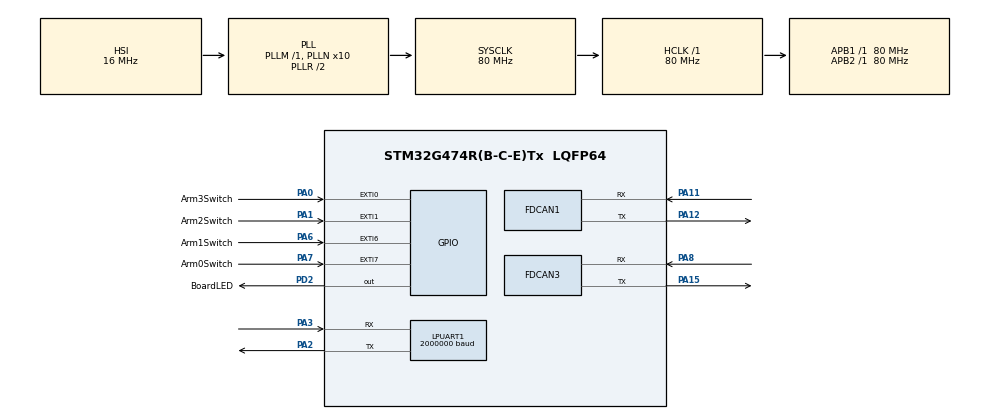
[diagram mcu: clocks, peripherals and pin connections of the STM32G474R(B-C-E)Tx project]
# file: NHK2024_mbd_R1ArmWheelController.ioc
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FDCAN1.CalculateBaudRateNominal=1000000
FDCAN1.CalculateTimeBitNominal=1000
FDCAN1.CalculateTimeQuantumNominal=50.0
FDCAN1.DataPrescaler=2
FDCAN1.DataTimeSeg1=15
FDCAN1.DataTimeSeg2=4
FDCAN1.FrameFormat=FDCAN_FRAME_FD_BRS
FDCAN1.NominalPrescaler=4
FDCAN1.NominalTimeSeg1=15
FDCAN1.NominalTimeSeg2=4
FDCAN1.StdFiltersNbr=1
FDCAN3.CalculateBaudRateNominal=1000000
FDCAN3.CalculateTimeBitNominal=1000
FDCAN3.CalculateTimeQuantumNominal=50.0
FDCAN3.NominalPrescaler=4
FDCAN3.NominalTimeSeg1=15
FDCAN3.NominalTimeSeg2=4
FDCAN3.StdFiltersNbr=1
IWDG.Prescaler=IWDG_PRESCALER_32
IWDG.Reload=99
IWDG.Window=99
LPUART1.BaudRate=2000000
Mcu.Family=STM32G4
Mcu.Name=STM32G474R(B-C-E)Tx
Mcu.Package=LQFP64
NVIC.EXTI0_IRQn=true\:1\:0\:true\:false\:true\:true\:true\:true
NVIC.EXTI1_IRQn=true\:1\:0\:true\:false\:true\:true\:true\:true
NVIC.EXTI9_5_IRQn=true\:1\:0\:true\:false\:true\:true\:true\:true
NVIC.FDCAN1_IT0_IRQn=true\:0\:0\:false\:false\:true\:true\:true\:true
NVIC.FDCAN3_IT0_IRQn=true\:2\:0\:true\:false\:true\:true\:true\:true
NVIC.FDCAN3_IT1_IRQn=true\:2\:0\:true\:false\:true\:true\:true\:true
NVIC.PriorityGroup=NVIC_PRIORITYGROUP_4
NVIC.TIM1_UP_TIM16_IRQn=true\:4\:0\:true\:false\:true\:true\:true\:true
NVIC.TIM6_DAC_IRQn=true\:3\:0\:true\:false\:true\:true\:true\:true
NVIC.TIM7_DAC_IRQn=true\:3\:0\:true\:false\:true\:true\:true\:true
PA0.GPIO_Label=Arm3Switch
PA0.GPIO_ModeDefaultEXTI=GPIO_MODE_IT_FALLING
PA0.Signal=GPXTI0
PA1.GPIO_Label=Arm2Switch
PA1.GPIO_ModeDefaultEXTI=GPIO_MODE_IT_FALLING
PA1.Signal=GPXTI1
PA11.Mode=FDCAN_Activate
PA11.Signal=FDCAN1_RX
PA12.Mode=FDCAN_Activate
PA12.Signal=FDCAN1_TX
PA15.Mode=FDCAN_Activate
PA15.Signal=FDCAN3_TX
PA2.Mode=Asynchronous
PA2.Signal=LPUART1_TX
PA3.Mode=Asynchronous
PA3.Signal=LPUART1_RX
PA6.GPIO_Label=Arm1Switch
PA6.GPIO_ModeDefaultEXTI=GPIO_MODE_IT_FALLING
PA6.Signal=GPXTI6
PA7.GPIO_Label=Arm0Switch
PA7.GPIO_ModeDefaultEXTI=GPIO_MODE_IT_FALLING
PA7.Signal=GPXTI7
PA8.Mode=FDCAN_Activate
PA8.Signal=FDCAN3_RX
PC0.Signal=ADC1_IN6
PC1.Signal=ADC1_IN7
PD2.GPIO_Label=BoardLED
PD2.PinState=GPIO_PIN_RESET
PD2.Signal=GPIO_Output
ProjectManager.HeapSize=0x200
ProjectManager.StackSize=0x400
ProjectManager.TargetToolchain=STM32CubeIDE
RCC.ADC12Freq_Value=80000000
RCC.ADC345Freq_Value=80000000
RCC.AHBFreq_Value=80000000
RCC.APB1Freq_Value=80000000
RCC.APB1TimFreq_Value=80000000
RCC.APB2Freq_Value=80000000
RCC.APB2TimFreq_Value=80000000
RCC.CortexFreq_Value=80000000
RCC.EXTERNAL_CLOCK_VALUE=12288000
RCC.HCLKFreq_Value=80000000
RCC.HSE_VALUE=8000000
RCC.HSI48_VALUE=48000000
RCC.HSI_VALUE=16000000
RCC.LSE_VALUE=32768
RCC.PLLN=10
RCC.SYSCLKFreq_VALUE=80000000
RCC.SYSCLKSource=RCC_SYSCLKSOURCE_PLLCLK
RCC.USBFreq_Value=80000000
RCC.VCOOutputFreq_Value=160000000
TIM16.PeriodNoDither=9
TIM16.Prescaler=80
TIM6.PeriodNoDither=999
TIM6.Prescaler=80
TIM7.PeriodNoDither=9999
TIM7.Prescaler=80
VP_IWDG_VS_IWDG.Mode=IWDG_Activate
VP_TIM16_VS_ClockSourceINT.Mode=Enable_Timer
VP_TIM6_VS_ClockSourceINT.Mode=Enable_Timer
VP_TIM7_VS_ClockSourceINT.Mode=Enable_Timer
board=custom

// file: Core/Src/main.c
/* USER CODE BEGIN Header */
/**
  ******************************************************************************
  * @file           : main.c
  * @brief          : Main program body
  ******************************************************************************
  * @attention
  *
  * Copyright (c) 2024 STMicroelectronics.
  * All rights reserved.
  *
  * This software is licensed under terms that can be found in the LICENSE file
  * in the root directory of this software component.
  * If no LICENSE file comes with this software, it is provided AS-IS.
  *
  ******************************************************************************
  */
/* USER CODE END Header */
#include "main.h"

/* USER CODE BEGIN Includes */
#include <stdio.h>
#include <inttypes.h>
#include <stdlib.h>
#include <stdbool.h>
#include "pid.h"
#include "R1CANIDList.h"
#include "DJI_CANIDList.h"
#include "ErrorCode.h"
/* USER CODE END Includes */

/* USER CODE BEGIN PTD */
typedef struct MotorState {
  int16_t vel;
  double pos;
} MotorState;
/* USER CODE END PTD */

/* USER CODE BEGIN PD */
#define REDUCTIONRATIO 36
#define GEARNUM 32
#define RACKPITCH 3.14159265
#define MOTOR_TO_EDGE_DISTANCE 21
/* USER CODE END PD */

FDCAN_HandleTypeDef hfdcan1;
FDCAN_HandleTypeDef hfdcan3;

IWDG_HandleTypeDef hiwdg;

UART_HandleTypeDef hlpuart1;

TIM_HandleTypeDef htim6;
TIM_HandleTypeDef htim7;
TIM_HandleTypeDef htim16;

/* USER CODE BEGIN PV */

// CAN settings
FDCAN_TxHeaderTypeDef FDCAN1_TxHeader;
FDCAN_RxHeaderTypeDef FDCAN1_RxHeader;

FDCAN_TxHeaderTypeDef FDCAN3_TxHeader;
FDCAN_RxHeaderTypeDef FDCAN3_RxHeader;

// For ADC continuous read
double arm_positions[4] = {0};
MotorState arm_motor[4];

// スイッチのチャタリング防止用変数
bool isHolPushedFlagForPreventChattering[4] = {
    false,
    false,
    false,
    false
};

// チャタリング防止用のタイマー
// 1MHzでタイマー回して1000になったらリセットする
unsigned int holdTimer[4] = {
    0,
    0,
    0,
    0
};

// それぞれのスイッチのロボットからみた位置
double ArmInitializeSwitchPosition[4] = {
    -(310 - MOTOR_TO_EDGE_DISTANCE),
    -(12.5 + MOTOR_TO_EDGE_DISTANCE),
    12.5 + MOTOR_TO_EDGE_DISTANCE,
    310 - MOTOR_TO_EDGE_DISTANCE,
};
// 全てのアーム位置を再初期化する際に使う変数たち
bool isPushedRestHomePositionButton[4] = {
    false,
    false,
    false,
    false
};

// アーム位置を初期化する際に使用する関数. 3秒経ってもスイッチが押されないならリセットされたと判定する
long long homePositionResetTimer = 0;

// For ARM position PID
// Reset以下のプログラムを有効化にするかどうか. デフォルトはfalse, アームの制御を入れる時にtrueにする
bool isProgramRun = false;

struct PID *PID_For_ARM_POS = NULL;

/*
 * PID Parameters
 * 限界感度法で調節
 * kpc = 62 (持続振動をするときのPゲインの大きさ)
 * T_c = 0.33 (持続振動の周波数が3Hzだった)
 *
 * -> 限界感度法がクソなのでいい感じにした
 */
double P_GAIN_FOR_ARM_POS = 5;
double P_GAIN_FOR_ARM_POS_SEQ[4] = {12.0, 12.0, 12.0, 12.0};
double I_GAIN_FOR_ARM_POS = 0;
double D_GAIN_FOR_ARM_POS = 1;

// setpoint for arm
// TODO
//int setpoint[4] = {
//		2640,
//		1550,
//		2480,
//		1387,
//};
int setpoint[3][4] = {
    // 苗の回収位置
    {
        -285,
        -69.5,
        69.5,
        285,
    },
    // 外側をおく
    {
        -160,
        -50,
        50,
        160,
    },
    // 内側をおく
    {
        -285,
        -194.5,
        194.5,
        285
    }
};

/* USER CODE END PV */

void SystemClock_Config(void);
static void MX_GPIO_Init(void);
static void MX_LPUART1_UART_Init(void);
static void MX_FDCAN3_Init(void);
static void MX_TIM6_Init(void);
static void MX_FDCAN1_Init(void);
static void MX_TIM7_Init(void);
static void MX_TIM16_Init(void);
static void MX_IWDG_Init(void);
/* USER CODE BEGIN PFP */
static void ARM_Position_PID_Init(void);
static void ARM_Position_PID_Cycle(void);

// 原点調節用の関数
static void InitMotorState(uint8_t motorID);
static void setMotorVel();

/* USER CODE END PFP */

/* USER CODE BEGIN 0 */

/* --- アームの原点を取るための関数たち --- */
void ResetToHomePosition() {
  // 実行前の初期化
  // PIDの制御を一旦止める
  HAL_TIM_Base_Stop_IT(&htim6);
  // MotorStateの初期化
  for (int arm_index = 0; arm_index < 4; arm_index++ ) {
      arm_motor[arm_index].pos = 0;
      arm_motor[arm_index].vel = 0;
  }
  // それぞれのスイッチの変数を全てfalseにする
  for (int arm_index = 0; arm_index < 4; arm_index++ ) {
      isPushedRestHomePositionButton[arm_index] = false;
  }

  if (!HAL_GPIO_ReadPin(Arm0Switch_GPIO_Port, Arm0Switch_Pin)) {
      InitMotorState(0);
      setMotorVel();
      isPushedRestHomePositionButton[0] = true;
  }
  if (!HAL_GPIO_ReadPin(Arm1Switch_GPIO_Port, Arm1Switch_Pin)) {
      InitMotorState(1);
      setMotorVel();
      isPushedRestHomePositionButton[1] = true;
  }
  if (!HAL_GPIO_ReadPin(Arm2Switch_GPIO_Port, Arm2Switch_Pin)) {
      InitMotorState(2);
      setMotorVel();
      isPushedRestHomePositionButton[2] = true;
  }
  if (!HAL_GPIO_ReadPin(Arm3Switch_GPIO_Port, Arm3Switch_Pin)) {
      InitMotorState(3);
      setMotorVel();
      isPushedRestHomePositionButton[3] = true;
  }

  /*
     * CANID 0, 3はプラス方向
     * CANID 1, 2はマイナス方向へ
  */
//  int16_t val_settings[4] = {
//      0,
//      0,
//      0,
//      -1000,
//  };
//  uint8_t motor_vel_value[8];
//
//  // update controller output
//  for (int arm_index = 0; arm_index < 4; arm_index++ ) {
//      motor_vel_value[arm_index*2] = val_settings[arm_index] >> 8;
//      motor_vel_value[arm_index*2+1] = val_settings[arm_index] & 0xFF;
//  }

  /*
   * アームをリミットスイッチまで動かす
   * スイッチが押されたら停止する
   * タイマーの切り忘れがないように注意
   */
  HAL_TIM_Base_Start_IT(&htim7);

  // 全部がスイッチにタッチするまで待つ
  printf("while\r\n");
  while (
      !isPushedRestHomePositionButton[0] ||
      !isPushedRestHomePositionButton[1] ||
      !isPushedRestHomePositionButton[2] ||
      !isPushedRestHomePositionButton[3]
  ) {
  }

  printf("Complete\r\n");

  // PIDの制御を再開
  // 原点初期化用のタイマーを停止して、PIDを再開する
  HAL_TIM_Base_Stop_IT(&htim7);
  HAL_TIM_Base_Start_IT(&htim6);
}

/*
 * 原点調節用のスイッチの割り込み関数
 */
void HAL_GPIO_EXTI_Callback(uint16_t GPIO_Pin)
{
  if (GPIO_Pin == Arm0Switch_Pin && !isHolPushedFlagForPreventChattering[0])
  {
      printf("Arm 0 initialized\r\n");
      InitMotorState(0); // motorStateを再初期化する
      setMotorVel(); // 再初期化したモーターの速度を0にする（InitMotorStateで変更したvelがCANに流されて反映される）
      isPushedRestHomePositionButton[0] = true;
      isHolPushedFlagForPreventChattering[0] = true; // チャタリング防止用
  }

  if (GPIO_Pin == Arm1Switch_Pin && !isHolPushedFlagForPreventChattering[1])
  {
//      printf("[Initialize Position]: ARM 1\r\n");
      printf("Arm 1 initialized\r\n");
      InitMotorState(1); // motorStateを再初期化する
      setMotorVel(); // 再初期化したモーターの速度を0にする（InitMotorStateで変更したvelがCANに流されて反映される）
      isPushedRestHomePositionButton[1] = true;
      isHolPushedFlagForPreventChattering[1] = true; // チャタリング防止用
  }

  if (GPIO_Pin == Arm2Switch_Pin && !isHolPushedFlagForPreventChattering[2])
  {
//      printf("[Initialize Position]: ARM 4\r\n");
      printf("Arm 2 initialized\r\n");
      InitMotorState(2); // motorStateを再初期化する
      setMotorVel(); // 再初期化したモーターの速度を0にする（InitMotorStateで変更したvelがCANに流されて反映される）
      isPushedRestHomePositionButton[2] = true;
      isHolPushedFlagForPreventChattering[2] = true; // チャタリング防止用
  }

  if (GPIO_Pin == Arm3Switch_Pin && !isHolPushedFlagForPreventChattering[3])
  {
//      printf("[Initialize Position]: ARM 4\r\n");
      printf("Arm 3 initialized\r\n");
      InitMotorState(3); // motorStateを再初期化する
      setMotorVel(); // 再初期化したモーターの速度を0にする（InitMotorStateで変更したvelがCANに流されて反映される）
      isPushedRestHomePositionButton[3] = true;
      isHolPushedFlagForPreventChattering[3] = true; // チャタリング防止用
  }
}

/*
 * CANIDがmotorIDのモータのarm_positions(アームの位置)情報を初期化する
 */
void InitMotorState(uint8_t motorID) {
  arm_motor[motorID].vel = 0;
  arm_motor[motorID].pos = ArmInitializeSwitchPosition[motorID];
}

/*
 * 原点が押されるまでモーターを原点方向に回し続ける関数.
 * 原点到着後はタイマーが止まるまでその場に居続ける
 */
void MoveToOriginAndHold(void) {
//  int16_t vel_settings[4] = {0, 0, 0, 0};
//
  if (!isPushedRestHomePositionButton[0]) {
        arm_motor[0].vel = -500;
  }
  if (!isPushedRestHomePositionButton[1]) {
      arm_motor[1].vel =  500;
  }
  if (!isPushedRestHomePositionButton[2]) {
      arm_motor[2].vel = -500;
  }
  if (!isPushedRestHomePositionButton[3]) {
      arm_motor[3].vel = 500;
  }

  setMotorVel();
}

void setMotorVel() {
    uint8_t motor_vel_value[8];

    // update controller output
    for (int arm_index = 0; arm_index < 4; arm_index++ ) {
        motor_vel_value[arm_index*2] = arm_motor[arm_index].vel >> 8;
        motor_vel_value[arm_index*2+1] = arm_motor[arm_index].vel & 0xFF;
    }

    FDCAN3_TxHeader.Identifier = DJI_CANID_TX0;
    if (HAL_FDCAN_AddMessageToTxFifoQ(&hfdcan3, &FDCAN3_TxHeader, motor_vel_value) != HAL_OK) {
        Error_Handler();
    }
}

// Set timer interrupt
void HAL_TIM_PeriodElapsedCallback(TIM_HandleTypeDef *htim){

	// For arm position adc
	if (htim == &htim6) {
	    // TODO: enable this func to enable PID
			ARM_Position_PID_Cycle();
	}
	// アームの原点調節をするときに使用する. それ以外はdisable
	if (htim == &htim7) {
	    homePositionResetTimer += 1;
	    printf("%d\r\n", homePositionResetTimer);
	    MoveToOriginAndHold();
	}

	// チャタリング防止用. 100KHzで回している。10msなったら解除
	if (htim == &htim16) {
	    for (int arm_index = 0; arm_index < 4; arm_index++ ) {
	        if (!isHolPushedFlagForPreventChattering[arm_index]) continue;
	        holdTimer[arm_index]++;
	        // 10ms立ったら再度初期化
	        if (holdTimer[arm_index] == 1000) {
	            holdTimer[arm_index] = 0;
	            isHolPushedFlagForPreventChattering[arm_index] = false;
	        }
//	        printf("%d\r\n", isHolPushedFlagForPreventChattering[arm_index]);
	    }
	}
}

// Set Interrupt Handler for FDCAN1 (raspberrypi, other stm ..)
void HAL_FDCAN_RxFifo0Callback(FDCAN_HandleTypeDef *hfdcan, uint32_t RxFifo0ITs) {
  uint8_t FDCAN1_RxData[2] = {0};

  // Error Handling
  if ((RxFifo0ITs & FDCAN_IT_RX_FIFO0_NEW_MESSAGE) == RESET) return;
  if (hfdcan != &hfdcan1) return;

  if (HAL_FDCAN_GetRxMessage(hfdcan, FDCAN_RX_FIFO0, &FDCAN1_RxHeader, FDCAN1_RxData) != HAL_OK) {
      printf("FDCAN3 error %" PRIu32 "\r\n", hfdcan->ErrorCode); // TODO : send this error to raspberrypi ON FDCAN1
      Error_Handler();
  }

  if (FDCAN1_RxHeader.Identifier == CANID_SEEDLING_SET_ARM_POSITION) {
      // プログラムを有効化する
      isProgramRun = true;
      switch(FDCAN1_RxData[0]) {
        case 0:
          printf("PICKUP\r\n");
          for(int arm_index=0; arm_index < 4; arm_index++ ) {
              pid_reset_setpoint(&PID_For_ARM_POS[arm_index], setpoint[0][arm_index]);
          }
          break;
        case 1:
          printf("PUT OUTSIDE\r\n");
          for(int arm_index=0; arm_index < 4; arm_index++ ) {
              pid_reset_setpoint(&PID_For_ARM_POS[arm_index], setpoint[1][arm_index]);
          }
          break;
        case 2:
          printf("PUT INSIDE\r\n");
          for(int arm_index=0; arm_index < 4; arm_index++ ) {
              pid_reset_setpoint(&PID_For_ARM_POS[arm_index], setpoint[2][arm_index]);
          }
          break;
        case 3:
          // TODO: disable FDCAN3 and reset program
          __disable_irq();
          break;
        default:
          break; // TODO : send RuntimeError to raspbeerypi
      }
  }
}

float rpm_to_signed(uint16_t angular_velocity) {
  if (angular_velocity <= UINT16_MAX/2) {
      return (float)(angular_velocity);
  } else {
      return (float)(angular_velocity - UINT16_MAX);
  }
}

int to_mechanical_angle(uint16_t angle) {
  return (int)((angle / 8191.0) * 360);
}

// Set Interrupt Handler For FDCAN3 (motor at wheel and arm)
void HAL_FDCAN_RxFifo1Callback(FDCAN_HandleTypeDef *hfdcan, uint32_t RxFifo1ITs) {
	uint8_t FDCAN3_RxData[8];
	float rpm;
	uint8_t motorID;

	// Error Handling
	if ((RxFifo1ITs & FDCAN_IT_RX_FIFO1_NEW_MESSAGE) == RESET) return;
	if (hfdcan != &hfdcan3) return;

	if (HAL_FDCAN_GetRxMessage(hfdcan, FDCAN_RX_FIFO1, &FDCAN3_RxHeader, FDCAN3_RxData) != HAL_OK) {
		printf("FDCAN3 error %" PRIu32 "\r\n", hfdcan->ErrorCode); // TODO : send this error to raspberrypi ON FDCAN1
		Error_Handler();
	}

	// Reload IWDG
	if (HAL_IWDG_Refresh(&hiwdg) != HAL_OK)
  {
    Error_Handler();
  }

//	printf("%d\r\n", motorID);
	motorID = FDCAN3_RxHeader.Identifier - DJI_CANID_TX0 - 1;
	// uint16_t 0 ~ 65535
	rpm = rpm_to_signed(FDCAN3_RxData[2] << 8 | FDCAN3_RxData[3]);
	double motor_vel = (double)(rpm / 60 / REDUCTIONRATIO * GEARNUM * RACKPITCH);
	arm_motor[motorID].vel = motor_vel;
	arm_motor[motorID].pos += (motor_vel * 0.001);
//	arm_positions[motorID] = arm_positions[motorID] + motor_vel * 0.001;

//	printf("%f, %f, %f, %f\r\n", 0.0, arm_motor[1].pos, 12.5 , 2000.0);
	// TODO : Add wheel controller
//	switch(FDCAN3_RxHeader.Identifier) {
//		default:
//			printf("CAN ID %" PRIu32 "is not cached from FIFO1 callback\r\n", FDCAN3_RxHeader.Identifier);
//	}
}

/* For ARM PID */
static void ARM_Position_PID_Init(void) {

	PID_For_ARM_POS = (struct PID *)malloc(4 * sizeof(struct PID));
	if (PID_For_ARM_POS == NULL) {
			Error_Handler();
	}

	// initialize element
	for (int arm_index = 0; arm_index < 4; arm_index++ ) {
			/*
			 * 制御周期 : 1000Hz
			 * kp : 1
			 * kd : 0
			 * ki : 0
			 * setpoint : 1500
			 * -500 : integral_min
			 * 500: integral_max
			 */
			pid_init(&PID_For_ARM_POS[arm_index], 1e-3, P_GAIN_FOR_ARM_POS_SEQ[arm_index], D_GAIN_FOR_ARM_POS, I_GAIN_FOR_ARM_POS, setpoint[0][arm_index], -500, 500);
	}
}

static void ARM_Position_PID_Cycle(void) {
	// Automatically set adc value to DMA, so don't need to read ADC
	if (PID_For_ARM_POS == NULL) {
			Error_Handler();
	}

//	uint8_t pid_controller_value[8];

//	printf("0, %d, 3000\r\n", arm_positions[1]);
//	printf("0, %d, 3000\r\n", arm_positions[2]);
//	printf("0, %d, %d, %d, %d, 3000\r\n", arm_positions[0], arm_positions[1], arm_positions[2], arm_positions[3]);
//	printf("0, %d, 3000\r\n", arm_positions[2]);

//	uint16_t arm[4] = {
//	    arm_positions[3],
//	    arm_positions[0],
//	    arm_positions[1],
//	    arm_positions[2]
//	};

	// update controller output
	for (int arm_index = 0; arm_index < 4; arm_index++ ) {
	    int32_t pid_val = int32_t_pid_compute(&PID_For_ARM_POS[arm_index], arm_motor[arm_index].pos);
			arm_motor[arm_index].vel = pid_val;
//			pid_controller_value[arm_index*2] = pid_for_arm_output >> 8;
//			pid_controller_value[arm_index*2+1] = pid_for_arm_output & 0xFF;
	}
	setMotorVel();
////	 write new controller value with can
//	FDCAN3_TxHeader.Identifier = DJI_CANID_TX0;
//	if (HAL_FDCAN_AddMessageToTxFifoQ(&hfdcan3, &FDCAN3_TxHeader, pid_controller_value) != HAL_OK) {
//	    Error_Handler();
//	}
}

int _write(int file, char *ptr, int len)
{
    HAL_UART_Transmit(&hlpuart1,(uint8_t *)ptr,len,8);
    return len;
}

/* USER CODE END 0 */

int main(void)
{

  /* MCU Configuration--------------------------------------------------------*/

  /* Reset of all peripherals, Initializes the Flash interface and the Systick. */
  HAL_Init();

  /* Configure the system clock */
  SystemClock_Config();

  /* Initialize all configured peripherals */
  MX_GPIO_Init();
  MX_LPUART1_UART_Init();
  MX_FDCAN3_Init();
  MX_TIM6_Init();
  MX_FDCAN1_Init();
  MX_TIM7_Init();
  MX_TIM16_Init();
  MX_IWDG_Init();
  /* USER CODE BEGIN 2 */
//  printf("arm position pid init\r\n");

  // Initialize PID library
  HAL_TIM_Base_Start_IT(&htim16);
  ARM_Position_PID_Init();

  printf("iwdg restart\r\n");
  while(!isProgramRun) {
      // アームの制御が入るまではこれ以降の処理をブロックする
      // 初めにリミットスイッチで原点を取るが開始時に色々面倒だから
  }

  // Start ADC and save at DMA
//	HAL_ADCEx_Calibration_Start(&hadc1, ADC_SINGLE_ENDED);
//	HAL_ADC_Start_DMA(&hadc1, (uint32_t *)&arm_positions, 4);
  printf("start rest to home position\r\n");
  ResetToHomePosition();
	printf("Complete Initialize\r\n");

	// TODO: enable this func
	// Start timer interrupt (1kHz)
  // TODO delete
//	HAL_TIM_Base_Start_IT(&htim6);

  /* USER CODE END 2 */

  /* Infinite loop */
  while (1)
  {

  }
}

void SystemClock_Config(void)
{
  RCC_OscInitTypeDef RCC_OscInitStruct = {0};
  RCC_ClkInitTypeDef RCC_ClkInitStruct = {0};

  /** Configure the main internal regulator output voltage
  */
  HAL_PWREx_ControlVoltageScaling(PWR_REGULATOR_VOLTAGE_SCALE1);

  /** Initializes the RCC Oscillators according to the specified parameters
  * in the RCC_OscInitTypeDef structure.
  */
  RCC_OscInitStruct.OscillatorType = RCC_OSCILLATORTYPE_HSI|RCC_OSCILLATORTYPE_LSI;
  RCC_OscInitStruct.HSIState = RCC_HSI_ON;
  RCC_OscInitStruct.HSICalibrationValue = RCC_HSICALIBRATION_DEFAULT;
  RCC_OscInitStruct.LSIState = RCC_LSI_ON;
  RCC_OscInitStruct.PLL.PLLState = RCC_PLL_ON;
  RCC_OscInitStruct.PLL.PLLSource = RCC_PLLSOURCE_HSI;
  RCC_OscInitStruct.PLL.PLLM = RCC_PLLM_DIV1;
  RCC_OscInitStruct.PLL.PLLN = 10;
  RCC_OscInitStruct.PLL.PLLP = RCC_PLLP_DIV2;
  RCC_OscInitStruct.PLL.PLLQ = RCC_PLLQ_DIV2;
  RCC_OscInitStruct.PLL.PLLR = RCC_PLLR_DIV2;
  if (HAL_RCC_OscConfig(&RCC_OscInitStruct) != HAL_OK)
  {
    Error_Handler();
  }

  /** Initializes the CPU, AHB and APB buses clocks
  */
  RCC_ClkInitStruct.ClockType = RCC_CLOCKTYPE_HCLK|RCC_CLOCKTYPE_SYSCLK
                              |RCC_CLOCKTYPE_PCLK1|RCC_CLOCKTYPE_PCLK2;
  RCC_ClkInitStruct.SYSCLKSource = RCC_SYSCLKSOURCE_PLLCLK;
  RCC_ClkInitStruct.AHBCLKDivider = RCC_SYSCLK_DIV1;
  RCC_ClkInitStruct.APB1CLKDivider = RCC_HCLK_DIV1;
  RCC_ClkInitStruct.APB2CLKDivider = RCC_HCLK_DIV1;

  if (HAL_RCC_ClockConfig(&RCC_ClkInitStruct, FLASH_LATENCY_2) != HAL_OK)
  {
    Error_Handler();
  }
}

static void MX_FDCAN1_Init(void)
{

  hfdcan1.Instance = FDCAN1;
  hfdcan1.Init.ClockDivider = FDCAN_CLOCK_DIV1;
  hfdcan1.Init.FrameFormat = FDCAN_FRAME_FD_BRS;
  hfdcan1.Init.Mode = FDCAN_MODE_NORMAL;
  hfdcan1.Init.AutoRetransmission = DISABLE;
  hfdcan1.Init.TransmitPause = DISABLE;
  hfdcan1.Init.ProtocolException = DISABLE;
  hfdcan1.Init.NominalPrescaler = 4;
  hfdcan1.Init.NominalSyncJumpWidth = 1;
  hfdcan1.Init.NominalTimeSeg1 = 15;
  hfdcan1.Init.NominalTimeSeg2 = 4;
  hfdcan1.Init.DataPrescaler = 2;
  hfdcan1.Init.DataSyncJumpWidth = 1;
  hfdcan1.Init.DataTimeSeg1 = 15;
  hfdcan1.Init.DataTimeSeg2 = 4;
  hfdcan1.Init.StdFiltersNbr = 1;
  hfdcan1.Init.ExtFiltersNbr = 0;
  hfdcan1.Init.TxFifoQueueMode = FDCAN_TX_FIFO_OPERATION;
  if (HAL_FDCAN_Init(&hfdcan1) != HAL_OK)
  {
    Error_Handler();
  }
  /* USER CODE BEGIN FDCAN1_Init 2 */
  FDCAN1_TxHeader.Identifier = 0x000;
  FDCAN1_TxHeader.IdType = FDCAN_STANDARD_ID;
  FDCAN1_TxHeader.TxFrameType = FDCAN_DATA_FRAME;
  FDCAN1_TxHeader.DataLength = FDCAN_DLC_BYTES_1;
  FDCAN1_TxHeader.ErrorStateIndicator = FDCAN_ESI_ACTIVE;
  FDCAN1_TxHeader.BitRateSwitch = FDCAN_BRS_ON;
  FDCAN1_TxHeader.FDFormat = FDCAN_FD_CAN;
  FDCAN1_TxHeader.TxEventFifoControl = FDCAN_NO_TX_EVENTS;
  FDCAN1_TxHeader.MessageMarker = 0;

  FDCAN_FilterTypeDef FDCAN1_sFilterConfig;
  FDCAN1_sFilterConfig.IdType = FDCAN_STANDARD_ID;
  FDCAN1_sFilterConfig.FilterIndex = 0;
  FDCAN1_sFilterConfig.FilterType = FDCAN_FILTER_RANGE;
  FDCAN1_sFilterConfig.FilterConfig = FDCAN_FILTER_TO_RXFIFO0;
  FDCAN1_sFilterConfig.FilterID1 = 0x00;
  FDCAN1_sFilterConfig.FilterID2 = 0x7ff;

  if (HAL_FDCAN_ConfigFilter(&hfdcan1, &FDCAN1_sFilterConfig) != HAL_OK) {
      Error_Handler();
  }
  if (HAL_FDCAN_ConfigGlobalFilter(&hfdcan1, FDCAN_REJECT, FDCAN_REJECT, FDCAN_FILTER_REMOTE, FDCAN_FILTER_REMOTE) !=
      HAL_OK) {
      Error_Handler();
  }
  if (HAL_FDCAN_Start(&hfdcan1) != HAL_OK) {
      Error_Handler();
  }
  if (HAL_FDCAN_ActivateNotification(&hfdcan1, FDCAN_IT_RX_FIFO0_NEW_MESSAGE, 0) != HAL_OK){
      Error_Handler();
  }

  /* USER CODE END FDCAN1_Init 2 */

}

static void MX_FDCAN3_Init(void)
{

  hfdcan3.Instance = FDCAN3;
  hfdcan3.Init.ClockDivider = FDCAN_CLOCK_DIV1;
  hfdcan3.Init.FrameFormat = FDCAN_FRAME_CLASSIC;
  hfdcan3.Init.Mode = FDCAN_MODE_NORMAL;
  hfdcan3.Init.AutoRetransmission = DISABLE;
  hfdcan3.Init.TransmitPause = DISABLE;
  hfdcan3.Init.ProtocolException = DISABLE;
  hfdcan3.Init.NominalPrescaler = 4;
  hfdcan3.Init.NominalSyncJumpWidth = 1;
  hfdcan3.Init.NominalTimeSeg1 = 15;
  hfdcan3.Init.NominalTimeSeg2 = 4;
  hfdcan3.Init.DataPrescaler = 1;
  hfdcan3.Init.DataSyncJumpWidth = 1;
  hfdcan3.Init.DataTimeSeg1 = 1;
  hfdcan3.Init.DataTimeSeg2 = 1;
  hfdcan3.Init.StdFiltersNbr = 1;
  hfdcan3.Init.ExtFiltersNbr = 0;
  hfdcan3.Init.TxFifoQueueMode = FDCAN_TX_FIFO_OPERATION;
  if (HAL_FDCAN_Init(&hfdcan3) != HAL_OK)
  {
    Error_Handler();
  }
  /* USER CODE BEGIN FDCAN3_Init 2 */
  // Set TXHeader
	FDCAN3_TxHeader.IdType = FDCAN_STANDARD_ID;
	FDCAN3_TxHeader.TxFrameType = FDCAN_DATA_FRAME;
	FDCAN3_TxHeader.DataLength = FDCAN_DLC_BYTES_8;
	FDCAN3_TxHeader.ErrorStateIndicator = FDCAN_ESI_ACTIVE;
	FDCAN3_TxHeader.BitRateSwitch = FDCAN_BRS_OFF;
	FDCAN3_TxHeader.FDFormat = FDCAN_CLASSIC_CAN;
	FDCAN3_TxHeader.TxEventFifoControl = FDCAN_NO_TX_EVENTS;
	FDCAN3_TxHeader.MessageMarker = 0;

	// Set FDCAN3 filter config
	FDCAN_FilterTypeDef FDCAN3_sFilterConfig;
	FDCAN3_sFilterConfig.IdType = FDCAN_STANDARD_ID;
	FDCAN3_sFilterConfig.FilterIndex = 0;
	FDCAN3_sFilterConfig.FilterType = FDCAN_FILTER_RANGE;
	FDCAN3_sFilterConfig.FilterConfig = FDCAN_FILTER_TO_RXFIFO1;
	FDCAN3_sFilterConfig.FilterID1 = 0x000;
	FDCAN3_sFilterConfig.FilterID2 = 0x7ff;

	if (HAL_FDCAN_ConfigFilter(&hfdcan3, &FDCAN3_sFilterConfig) != HAL_OK) {
		Error_Handler();
	}
	if (HAL_FDCAN_ConfigGlobalFilter(&hfdcan3, FDCAN_REJECT, FDCAN_REJECT, FDCAN_FILTER_REMOTE, FDCAN_FILTER_REMOTE) != HAL_OK) {
		Error_Handler();
	}

	if (HAL_FDCAN_Start(&hfdcan3) != HAL_OK) {
		Error_Handler();
	}

	if (HAL_FDCAN_ActivateNotification(&hfdcan3, FDCAN_IT_RX_FIFO1_NEW_MESSAGE, 0) != HAL_OK) {
		Error_Handler();
	}
  /* USER CODE END FDCAN3_Init 2 */

}

static void MX_IWDG_Init(void)
{

  hiwdg.Instance = IWDG;
  hiwdg.Init.Prescaler = IWDG_PRESCALER_32;
  hiwdg.Init.Window = 99;
  hiwdg.Init.Reload = 99;
  if (HAL_IWDG_Init(&hiwdg) != HAL_OK)
  {
    Error_Handler();
  }

}

static void MX_LPUART1_UART_Init(void)
{

  hlpuart1.Instance = LPUART1;
  hlpuart1.Init.BaudRate = 2000000;
  hlpuart1.Init.WordLength = UART_WORDLENGTH_8B;
  hlpuart1.Init.StopBits = UART_STOPBITS_1;
  hlpuart1.Init.Parity = UART_PARITY_NONE;
  hlpuart1.Init.Mode = UART_MODE_TX_RX;
  hlpuart1.Init.HwFlowCtl = UART_HWCONTROL_NONE;
  hlpuart1.Init.OneBitSampling = UART_ONE_BIT_SAMPLE_DISABLE;
  hlpuart1.Init.ClockPrescaler = UART_PRESCALER_DIV1;
  hlpuart1.AdvancedInit.AdvFeatureInit = UART_ADVFEATURE_NO_INIT;
  if (HAL_UART_Init(&hlpuart1) != HAL_OK)
  {
    Error_Handler();
  }
  if (HAL_UARTEx_SetTxFifoThreshold(&hlpuart1, UART_TXFIFO_THRESHOLD_1_8) != HAL_OK)
  {
    Error_Handler();
  }
  if (HAL_UARTEx_SetRxFifoThreshold(&hlpuart1, UART_RXFIFO_THRESHOLD_1_8) != HAL_OK)
  {
    Error_Handler();
  }
  if (HAL_UARTEx_DisableFifoMode(&hlpuart1) != HAL_OK)
  {
    Error_Handler();
  }

}

static void MX_TIM6_Init(void)
{

  TIM_MasterConfigTypeDef sMasterConfig = {0};

  htim6.Instance = TIM6;
  htim6.Init.Prescaler = 80;
  htim6.Init.CounterMode = TIM_COUNTERMODE_UP;
  htim6.Init.Period = 999;
  htim6.Init.AutoReloadPreload = TIM_AUTORELOAD_PRELOAD_DISABLE;
  if (HAL_TIM_Base_Init(&htim6) != HAL_OK)
  {
    Error_Handler();
  }
  sMasterConfig.MasterOutputTrigger = TIM_TRGO_RESET;
  sMasterConfig.MasterSlaveMode = TIM_MASTERSLAVEMODE_DISABLE;
  if (HAL_TIMEx_MasterConfigSynchronization(&htim6, &sMasterConfig) != HAL_OK)
  {
    Error_Handler();
  }

}

static void MX_TIM7_Init(void)
{

  TIM_MasterConfigTypeDef sMasterConfig = {0};

  htim7.Instance = TIM7;
  htim7.Init.Prescaler = 80;
  htim7.Init.CounterMode = TIM_COUNTERMODE_UP;
  htim7.Init.Period = 9999;
  htim7.Init.AutoReloadPreload = TIM_AUTORELOAD_PRELOAD_DISABLE;
  if (HAL_TIM_Base_Init(&htim7) != HAL_OK)
  {
    Error_Handler();
  }
  sMasterConfig.MasterOutputTrigger = TIM_TRGO_RESET;
  sMasterConfig.MasterSlaveMode = TIM_MASTERSLAVEMODE_DISABLE;
  if (HAL_TIMEx_MasterConfigSynchronization(&htim7, &sMasterConfig) != HAL_OK)
  {
    Error_Handler();
  }

}

static void MX_TIM16_Init(void)
{

  htim16.Instance = TIM16;
  htim16.Init.Prescaler = 80;
  htim16.Init.CounterMode = TIM_COUNTERMODE_UP;
  htim16.Init.Period = 9;
  htim16.Init.ClockDivision = TIM_CLOCKDIVISION_DIV1;
  htim16.Init.RepetitionCounter = 0;
  htim16.Init.AutoReloadPreload = TIM_AUTORELOAD_PRELOAD_DISABLE;
  if (HAL_TIM_Base_Init(&htim16) != HAL_OK)
  {
    Error_Handler();
  }

}

static void MX_GPIO_Init(void)
{
  GPIO_InitTypeDef GPIO_InitStruct = {0};

  /* GPIO Ports Clock Enable */
  __HAL_RCC_GPIOC_CLK_ENABLE();
  __HAL_RCC_GPIOA_CLK_ENABLE();
  __HAL_RCC_GPIOD_CLK_ENABLE();

  /*Configure GPIO pin Output Level */
  HAL_GPIO_WritePin(BoardLED_GPIO_Port, BoardLED_Pin, GPIO_PIN_RESET);

  /*Configure GPIO pins : PC0 PC1 */
  GPIO_InitStruct.Pin = GPIO_PIN_0|GPIO_PIN_1;
  GPIO_InitStruct.Mode = GPIO_MODE_ANALOG;
  GPIO_InitStruct.Pull = GPIO_NOPULL;
  HAL_GPIO_Init(GPIOC, &GPIO_InitStruct);

  /*Configure GPIO pins : Arm3Switch_Pin Arm2Switch_Pin Arm1Switch_Pin Arm0Switch_Pin */
  GPIO_InitStruct.Pin = Arm3Switch_Pin|Arm2Switch_Pin|Arm1Switch_Pin|Arm0Switch_Pin;
  GPIO_InitStruct.Mode = GPIO_MODE_IT_FALLING;
  GPIO_InitStruct.Pull = GPIO_NOPULL;
  HAL_GPIO_Init(GPIOA, &GPIO_InitStruct);

  /*Configure GPIO pin : BoardLED_Pin */
  GPIO_InitStruct.Pin = BoardLED_Pin;
  GPIO_InitStruct.Mode = GPIO_MODE_OUTPUT_PP;
  GPIO_InitStruct.Pull = GPIO_NOPULL;
  GPIO_InitStruct.Speed = GPIO_SPEED_FREQ_LOW;
  HAL_GPIO_Init(BoardLED_GPIO_Port, &GPIO_InitStruct);

  /* EXTI interrupt init*/
  HAL_NVIC_SetPriority(EXTI0_IRQn, 1, 0);
  HAL_NVIC_EnableIRQ(EXTI0_IRQn);

  HAL_NVIC_SetPriority(EXTI1_IRQn, 1, 0);
  HAL_NVIC_EnableIRQ(EXTI1_IRQn);

  HAL_NVIC_SetPriority(EXTI9_5_IRQn, 1, 0);
  HAL_NVIC_EnableIRQ(EXTI9_5_IRQn);

}

void Error_Handler(void)
{
  /* USER CODE BEGIN Error_Handler_Debug */
  /* User can add his own implementation to report the HAL error return state */
  HAL_GPIO_WritePin(BoardLED_GPIO_Port, BoardLED_Pin, GPIO_PIN_SET);
  __disable_irq();
  while (1)
  {
  }
  /* USER CODE END Error_Handler_Debug */
}
